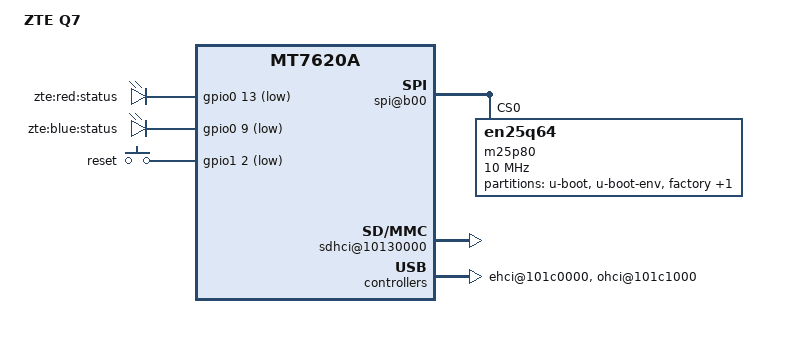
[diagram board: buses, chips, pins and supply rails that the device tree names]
/dts-v1/;

/include/ "mt7620a.dtsi"

/ {
	compatible = "ZTE-Q7", "ralink,mt7620a-soc";
	model = "ZTE Q7";

	palmbus@10000000 {

		gpio0: gpio@600 {
			status = "okay";
		};

		gpio1: gpio@638 {
			status = "okay";
		};

		spi@b00 {
			status = "okay";

			m25p80@0 {
				#address-cells = <1>;
				#size-cells = <1>;
				compatible = "en25q64";
				reg = <0 0>;
				linux,modalias = "m25p80", "en25q64";
				spi-max-frequency = <10000000>;

				partition@0 {
					label = "u-boot";
					reg = <0x0 0x30000>;
					read-only;
				};

				partition@30000 {
					label = "u-boot-env";
					reg = <0x30000 0x10000>;
					read-only;
				};

				factory: partition@40000 {
					label = "factory";
					reg = <0x40000 0x10000>;
					read-only;
				};

				partition@50000 {
					label = "firmware";
					reg = <0x50000 0x7b0000>;
				};
			};
		};
	};

	pinctrl {
		state_default: pinctrl0 {
			gpio {
				ralink,group = "i2c", "uartf", "rgmii1", "rgmii2", "ephy", "wled", "nd_sd";
				ralink,function = "gpio";
			};
		};
	};

	ethernet@10100000 {
		pinctrl-names = "default";
		pinctrl-0 = <&ephy_pins>;
		mtd-mac-address = <&factory 0x4>;
		ralink,port-map = "wllll";
	};

	wmac@10180000 {
		ralink,mtd-eeprom = <&factory 0>;
	};

	sdhci@10130000 {
		status = "okay";
	};

	ehci@101c0000 {
		status = "okay";
	};

	ohci@101c1000 {
		status = "okay";
	};

	gpio-leds {
		compatible = "gpio-leds";
		statred {
			label = "zte:red:status";
			gpios = <&gpio0 13 1>;
		};
		statblue {
			label = "zte:blue:status";
			gpios = <&gpio0 9 1>;
		};
	};

	gpio-keys-polled {
		compatible = "gpio-keys-polled";
		#address-cells = <1>;
		#size-cells = <0>;
		poll-interval = <20>;
		reset {
			label = "reset";
			gpios = <&gpio1 2 1>;
			linux,code = <0x198>;
		};
	};
};
